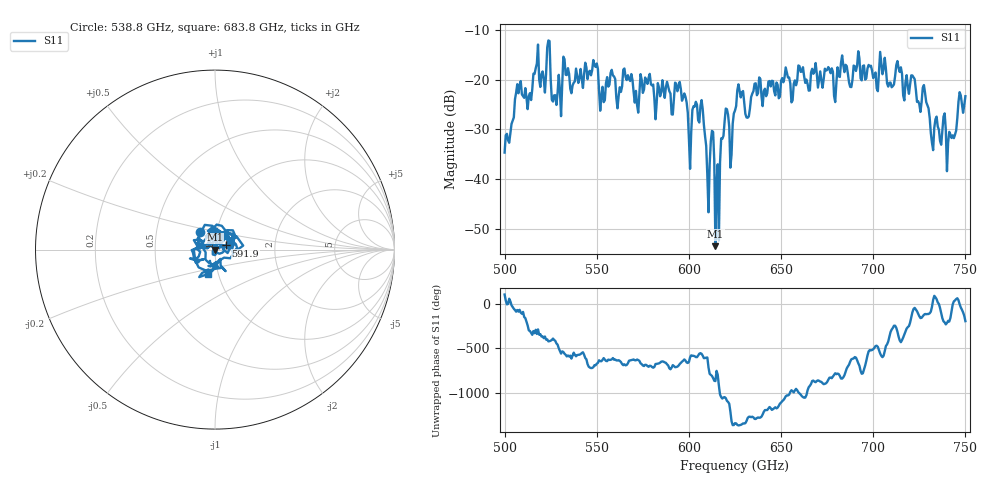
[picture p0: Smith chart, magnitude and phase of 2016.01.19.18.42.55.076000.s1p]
!Created with skrf (http://scikit-rf.org).
# GHz S RI R 50.0
!freq ReS11 ImS11
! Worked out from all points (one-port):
!   401 points, 500 GHz to 750 GHz, reference 50 ohm
!   lowest |S11| = -53.5 dB at 614.4 GHz (marker M1), VSWR 1.00, Z = 49.8 - j0.111 ohm
!   |S11| at or under -10 dB: start of sweep to end of sweep
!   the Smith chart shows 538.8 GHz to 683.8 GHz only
!   S11 on the Smith chart (normalised r, x): 538.8 GHz: 0.83, +0.17; 591.9 GHz: 1.12, +0.05; 683.8 GHz: 0.89, -0.25
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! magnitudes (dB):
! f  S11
! 500 GHz  -34.7
! 507.5 GHz  -22.7
! 513.1 GHz  -23.3
! 516.9 GHz  -17.7
! 520.6 GHz  -18.3
! 523.8 GHz  -12.0
! 526.9 GHz  -23.1
! 531.2 GHz  -21.0
! 538.8 GHz  -17.7
! 562.5 GHz  -21.5
! 565.6 GHz  -19.4
! 591.9 GHz  -23.9
! 593.8 GHz  -22.3
! 600.6 GHz  -37.9
! 607.5 GHz  -26.0
! 610 GHz  -39.3
! 612.5 GHz  -30.3
! 614.4 GHz  -53.5
! 615.6 GHz  -37.0
! 618.8 GHz  -31.3
! 623.1 GHz  -35.1
! 625 GHz  -26.2
! 656.2 GHz  -24.1
! 683.8 GHz  -17.0
! 687.5 GHz  -21.4
! 718.8 GHz  -21.4
! 741.2 GHz  -30.5
! 750 GHz  -23.3
